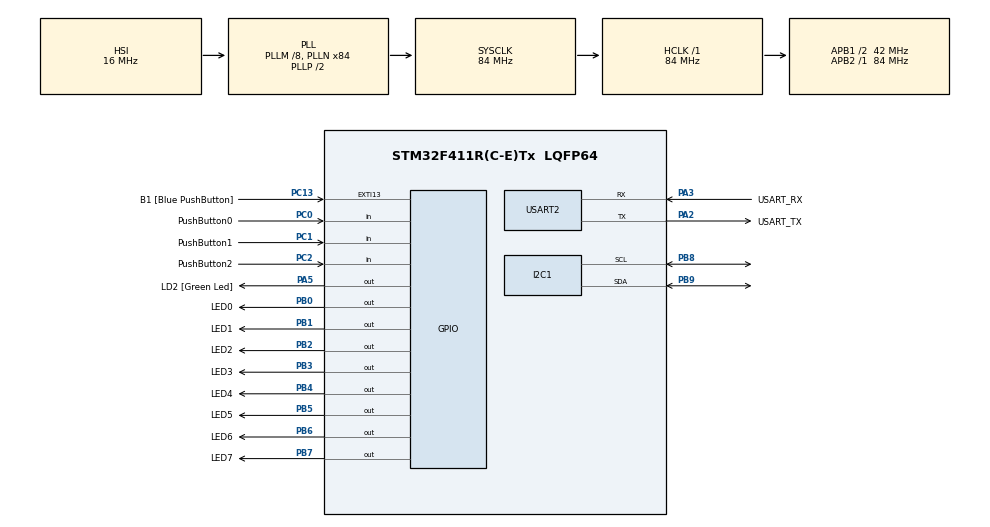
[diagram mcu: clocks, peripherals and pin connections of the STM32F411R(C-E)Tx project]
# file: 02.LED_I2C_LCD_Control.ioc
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Mcu.Family=STM32F4
Mcu.Name=STM32F411R(C-E)Tx
Mcu.Package=LQFP64
NVIC.EXTI15_10_IRQn=true\:0\:0\:false\:false\:true\:true\:true
NVIC.I2C1_ER_IRQn=true\:0\:0\:false\:false\:true\:true\:true
NVIC.I2C1_EV_IRQn=true\:0\:0\:false\:false\:true\:true\:true
NVIC.PriorityGroup=NVIC_PRIORITYGROUP_0
NVIC.TIM3_IRQn=true\:0\:0\:false\:false\:true\:true\:true
PA13.GPIO_Label=TMS
PA13.Mode=Serial_Wire
PA13.Signal=SYS_JTMS-SWDIO
PA14.GPIO_Label=TCK
PA14.Mode=Serial_Wire
PA14.Signal=SYS_JTCK-SWCLK
PA2.GPIO_Label=USART_TX
PA2.Mode=Asynchronous
PA2.Signal=USART2_TX
PA3.GPIO_Label=USART_RX
PA3.Mode=Asynchronous
PA3.Signal=USART2_RX
PA5.GPIO_Label=LD2 [Green Led]
PA5.Signal=GPIO_Output
PB0.GPIO_Label=LED0
PB0.Signal=GPIO_Output
PB1.GPIO_Label=LED1
PB1.Signal=GPIO_Output
PB2.GPIO_Label=LED2
PB2.Signal=GPIO_Output
PB3.GPIO_Label=LED3
PB3.Signal=GPIO_Output
PB4.GPIO_Label=LED4
PB4.Signal=GPIO_Output
PB5.GPIO_Label=LED5
PB5.Signal=GPIO_Output
PB6.GPIO_Label=LED6
PB6.Signal=GPIO_Output
PB7.GPIO_Label=LED7
PB7.Signal=GPIO_Output
PB8.Mode=I2C
PB8.Signal=I2C1_SCL
PB9.Mode=I2C
PB9.Signal=I2C1_SDA
PC0.GPIO_Label=PushButton0
PC0.Signal=GPIO_Input
PC1.GPIO_Label=PushButton1
PC1.Signal=GPIO_Input
PC13-ANTI_TAMP.GPIO_Label=B1 [Blue PushButton]
PC13-ANTI_TAMP.GPIO_ModeDefaultEXTI=GPIO_MODE_IT_FALLING
PC13-ANTI_TAMP.Signal=GPXTI13
PC2.GPIO_Label=PushButton2
PC2.Signal=GPIO_Input
ProjectManager.HeapSize=0x200
ProjectManager.StackSize=0x400
ProjectManager.TargetToolchain=STM32CubeIDE
RCC.48MHZClocksFreq_Value=42000000
RCC.AHBFreq_Value=84000000
RCC.APB1CLKDivider=RCC_HCLK_DIV2
RCC.APB1Freq_Value=42000000
RCC.APB1TimFreq_Value=84000000
RCC.APB2Freq_Value=84000000
RCC.APB2TimFreq_Value=84000000
RCC.CortexFreq_Value=84000000
RCC.FLatency-AdvancedSettings=FLASH_LATENCY_2
RCC.HCLKFreq_Value=84000000
RCC.HSE_VALUE=8000000
RCC.HSI_VALUE=16000000
RCC.LSE_VALUE=32768
RCC.PLLM=8
RCC.PLLN=84
RCC.SYSCLKFreq_VALUE=84000000
RCC.SYSCLKSource=RCC_SYSCLKSOURCE_PLLCLK
RCC.VCOOutputFreq_Value=168000000
TIM3.AutoReloadPreload=TIM_AUTORELOAD_PRELOAD_ENABLE
TIM3.Period=999
TIM3.Prescaler=83
USART2.VirtualMode=VM_ASYNC
VP_TIM3_VS_ClockSourceINT.Mode=Internal
board=NUCLEO-F411RE

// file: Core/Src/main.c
/* USER CODE BEGIN Header */
/**
  ******************************************************************************
  * @file           : main.c
  * @brief          : Main program body
  ******************************************************************************
  * @attention
  *
  * <h2><center>&copy; Copyright (c) 2021 STMicroelectronics.
  * All rights reserved.</center></h2>
  *
  * This software component is licensed by ST under BSD 3-Clause license,
  * the "License"; You may not use this file except in compliance with the
  * License. You may obtain a copy of the License at:
  *                        opensource.org/licenses/BSD-3-Clause
  *
  ******************************************************************************
  */
/* USER CODE END Header */
#include "main.h"

/* USER CODE BEGIN Includes */
#include "button.h"
#include "LED.h"
#include "i2c_lcd.h"
/* USER CODE END Includes */

I2C_HandleTypeDef hi2c1;

TIM_HandleTypeDef htim3;

UART_HandleTypeDef huart2;

/* USER CODE BEGIN PV */
volatile int gTimerCnt;
/* USER CODE END PV */

void SystemClock_Config(void);
static void MX_GPIO_Init(void);
static void MX_USART2_UART_Init(void);
static void MX_TIM3_Init(void);
static void MX_I2C1_Init(void);

/* USER CODE BEGIN 0 */

//----------  printf start ----------
#ifdef __GNUC__
/* With GCC, small printf (option LD Linker->Libraries->Small printf
   set to 'Yes') calls __io_putchar() */
#define PUTCHAR_PROTOTYPE int __io_putchar(int ch)
#else
#define PUTCHAR_PROTOTYPE int fputc(int ch, FILE *f)
#endif /* __GNUC__ */
/**
  * @brief  Retargets the C library printf function to the USART.
  * @param  None
  * @retval None
  */
PUTCHAR_PROTOTYPE   // Add for printf
{
  /* Place your implementation of fputc here */
  /* e.g. write a character to the USART3 and Loop until the end of transmission */
  HAL_UART_Transmit(&huart2, (uint8_t *)&ch, 1, 0xFFFF);

  return ch;
}
//----------  printf end ----------

/* TIMER3 INT */
void HAL_TIM_PeriodElapsedCallback(TIM_HandleTypeDef *htim)
{
	gTimerCnt++;
	if (gTimerCnt == 500)
	{
		gTimerCnt = 0;
	}
}
/* USER CODE END 0 */

int main(void)
{

  /* MCU Configuration--------------------------------------------------------*/

  /* Reset of all peripherals, Initializes the Flash interface and the Systick. */
  HAL_Init();

  /* Configure the system clock */
  SystemClock_Config();

  /* Initialize all configured peripherals */
  MX_GPIO_Init();
  MX_USART2_UART_Init();
  MX_TIM3_Init();
  MX_I2C1_Init();
  /* USER CODE BEGIN 2 */
  // TIMER3 INTTRUPT CONTROL
  if (HAL_TIM_Base_Start_IT(&htim3) != HAL_OK)
  {
	  /* Starting Error */
	  Error_Handler();
  }

  /* USER CODE END 2 */

  /* Infinite loop */
  while (1)
  {

    /* USER CODE BEGIN 3 */
	i2c_lcd_main();
  }
  /* USER CODE END 3 */
}

void SystemClock_Config(void)
{
  RCC_OscInitTypeDef RCC_OscInitStruct = {0};
  RCC_ClkInitTypeDef RCC_ClkInitStruct = {0};

  /** Configure the main internal regulator output voltage
  */
  __HAL_RCC_PWR_CLK_ENABLE();
  __HAL_PWR_VOLTAGESCALING_CONFIG(PWR_REGULATOR_VOLTAGE_SCALE1);
  /** Initializes the RCC Oscillators according to the specified parameters
  * in the RCC_OscInitTypeDef structure.
  */
  RCC_OscInitStruct.OscillatorType = RCC_OSCILLATORTYPE_HSI;
  RCC_OscInitStruct.HSIState = RCC_HSI_ON;
  RCC_OscInitStruct.HSICalibrationValue = RCC_HSICALIBRATION_DEFAULT;
  RCC_OscInitStruct.PLL.PLLState = RCC_PLL_ON;
  RCC_OscInitStruct.PLL.PLLSource = RCC_PLLSOURCE_HSI;
  RCC_OscInitStruct.PLL.PLLM = 8;
  RCC_OscInitStruct.PLL.PLLN = 84;
  RCC_OscInitStruct.PLL.PLLP = RCC_PLLP_DIV2;
  RCC_OscInitStruct.PLL.PLLQ = 4;
  if (HAL_RCC_OscConfig(&RCC_OscInitStruct) != HAL_OK)
  {
    Error_Handler();
  }
  /** Initializes the CPU, AHB and APB buses clocks
  */
  RCC_ClkInitStruct.ClockType = RCC_CLOCKTYPE_HCLK|RCC_CLOCKTYPE_SYSCLK
                              |RCC_CLOCKTYPE_PCLK1|RCC_CLOCKTYPE_PCLK2;
  RCC_ClkInitStruct.SYSCLKSource = RCC_SYSCLKSOURCE_PLLCLK;
  RCC_ClkInitStruct.AHBCLKDivider = RCC_SYSCLK_DIV1;
  RCC_ClkInitStruct.APB1CLKDivider = RCC_HCLK_DIV2;
  RCC_ClkInitStruct.APB2CLKDivider = RCC_HCLK_DIV1;

  if (HAL_RCC_ClockConfig(&RCC_ClkInitStruct, FLASH_LATENCY_2) != HAL_OK)
  {
    Error_Handler();
  }
}

static void MX_I2C1_Init(void)
{

  hi2c1.Instance = I2C1;
  hi2c1.Init.ClockSpeed = 100000;
  hi2c1.Init.DutyCycle = I2C_DUTYCYCLE_2;
  hi2c1.Init.OwnAddress1 = 0;
  hi2c1.Init.AddressingMode = I2C_ADDRESSINGMODE_7BIT;
  hi2c1.Init.DualAddressMode = I2C_DUALADDRESS_DISABLE;
  hi2c1.Init.OwnAddress2 = 0;
  hi2c1.Init.GeneralCallMode = I2C_GENERALCALL_DISABLE;
  hi2c1.Init.NoStretchMode = I2C_NOSTRETCH_DISABLE;
  if (HAL_I2C_Init(&hi2c1) != HAL_OK)
  {
    Error_Handler();
  }

}

static void MX_TIM3_Init(void)
{

  TIM_ClockConfigTypeDef sClockSourceConfig = {0};
  TIM_MasterConfigTypeDef sMasterConfig = {0};

  htim3.Instance = TIM3;
  htim3.Init.Prescaler = 83;
  htim3.Init.CounterMode = TIM_COUNTERMODE_UP;
  htim3.Init.Period = 999;
  htim3.Init.ClockDivision = TIM_CLOCKDIVISION_DIV1;
  htim3.Init.AutoReloadPreload = TIM_AUTORELOAD_PRELOAD_ENABLE;
  if (HAL_TIM_Base_Init(&htim3) != HAL_OK)
  {
    Error_Handler();
  }
  sClockSourceConfig.ClockSource = TIM_CLOCKSOURCE_INTERNAL;
  if (HAL_TIM_ConfigClockSource(&htim3, &sClockSourceConfig) != HAL_OK)
  {
    Error_Handler();
  }
  sMasterConfig.MasterOutputTrigger = TIM_TRGO_RESET;
  sMasterConfig.MasterSlaveMode = TIM_MASTERSLAVEMODE_DISABLE;
  if (HAL_TIMEx_MasterConfigSynchronization(&htim3, &sMasterConfig) != HAL_OK)
  {
    Error_Handler();
  }

}

static void MX_USART2_UART_Init(void)
{

  huart2.Instance = USART2;
  huart2.Init.BaudRate = 115200;
  huart2.Init.WordLength = UART_WORDLENGTH_8B;
  huart2.Init.StopBits = UART_STOPBITS_1;
  huart2.Init.Parity = UART_PARITY_NONE;
  huart2.Init.Mode = UART_MODE_TX_RX;
  huart2.Init.HwFlowCtl = UART_HWCONTROL_NONE;
  huart2.Init.OverSampling = UART_OVERSAMPLING_16;
  if (HAL_UART_Init(&huart2) != HAL_OK)
  {
    Error_Handler();
  }

}

static void MX_GPIO_Init(void)
{
  GPIO_InitTypeDef GPIO_InitStruct = {0};

  /* GPIO Ports Clock Enable */
  __HAL_RCC_GPIOC_CLK_ENABLE();
  __HAL_RCC_GPIOA_CLK_ENABLE();
  __HAL_RCC_GPIOB_CLK_ENABLE();

  /*Configure GPIO pin Output Level */
  HAL_GPIO_WritePin(LD2_GPIO_Port, LD2_Pin, GPIO_PIN_RESET);

  /*Configure GPIO pin Output Level */
  HAL_GPIO_WritePin(GPIOB, LED0_Pin|LED1_Pin|LED2_Pin|LED3_Pin
                          |LED4_Pin|LED5_Pin|LED6_Pin|LED7_Pin, GPIO_PIN_RESET);

  /*Configure GPIO pin : B1_Pin */
  GPIO_InitStruct.Pin = B1_Pin;
  GPIO_InitStruct.Mode = GPIO_MODE_IT_FALLING;
  GPIO_InitStruct.Pull = GPIO_NOPULL;
  HAL_GPIO_Init(B1_GPIO_Port, &GPIO_InitStruct);

  /*Configure GPIO pins : PushButton0_Pin PushButton1_Pin PushButton2_Pin */
  GPIO_InitStruct.Pin = PushButton0_Pin|PushButton1_Pin|PushButton2_Pin;
  GPIO_InitStruct.Mode = GPIO_MODE_INPUT;
  GPIO_InitStruct.Pull = GPIO_NOPULL;
  HAL_GPIO_Init(GPIOC, &GPIO_InitStruct);

  /*Configure GPIO pin : LD2_Pin */
  GPIO_InitStruct.Pin = LD2_Pin;
  GPIO_InitStruct.Mode = GPIO_MODE_OUTPUT_PP;
  GPIO_InitStruct.Pull = GPIO_NOPULL;
  GPIO_InitStruct.Speed = GPIO_SPEED_FREQ_LOW;
  HAL_GPIO_Init(LD2_GPIO_Port, &GPIO_InitStruct);

  /*Configure GPIO pins : LED0_Pin LED1_Pin LED2_Pin LED3_Pin
                           LED4_Pin LED5_Pin LED6_Pin LED7_Pin */
  GPIO_InitStruct.Pin = LED0_Pin|LED1_Pin|LED2_Pin|LED3_Pin
                          |LED4_Pin|LED5_Pin|LED6_Pin|LED7_Pin;
  GPIO_InitStruct.Mode = GPIO_MODE_OUTPUT_PP;
  GPIO_InitStruct.Pull = GPIO_NOPULL;
  GPIO_InitStruct.Speed = GPIO_SPEED_FREQ_LOW;
  HAL_GPIO_Init(GPIOB, &GPIO_InitStruct);

  /* EXTI interrupt init*/
  HAL_NVIC_SetPriority(EXTI15_10_IRQn, 0, 0);
  HAL_NVIC_EnableIRQ(EXTI15_10_IRQn);

}

/* USER CODE BEGIN 4 */
void HAL_GPIO_EXTI_Callback(uint16_t GPIO_Pin)
{
	switch(GPIO_Pin)
	{
	case B1_Pin:
		HAL_GPIO_TogglePin(LD2_GPIO_Port, LD2_Pin);
		break;
	default:
		;
	}
}

/* USER CODE END 4 */

void Error_Handler(void)
{
  __disable_irq();
  while (1)
  {
  }
}

/************************ (C) COPYRIGHT STMicroelectronics *****END OF FILE****/
